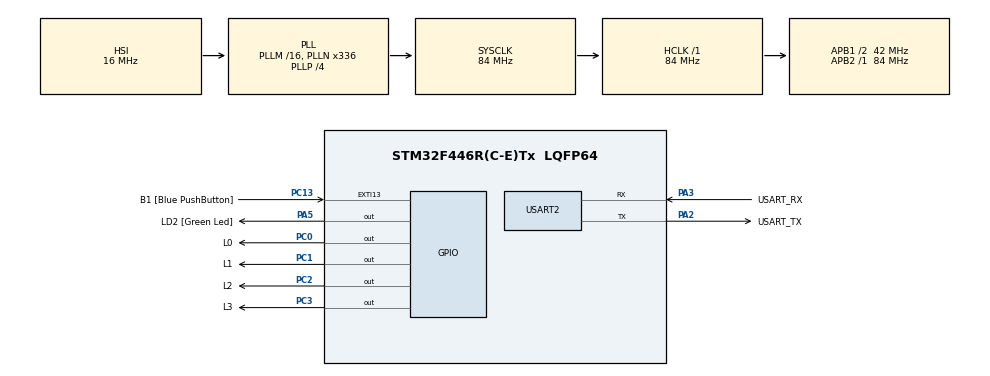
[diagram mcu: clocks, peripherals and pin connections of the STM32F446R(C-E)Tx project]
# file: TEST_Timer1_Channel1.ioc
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Mcu.Family=STM32F4
Mcu.Name=STM32F446R(C-E)Tx
Mcu.Package=LQFP64
NVIC.PriorityGroup=NVIC_PRIORITYGROUP_0
NVIC.TIM1_UP_TIM10_IRQn=true\:0\:0\:false\:false\:true\:true\:true\:true
PA13.GPIO_Label=TMS
PA13.Mode=Serial_Wire
PA13.Signal=SYS_JTMS-SWDIO
PA14.GPIO_Label=TCK
PA14.Mode=Serial_Wire
PA14.Signal=SYS_JTCK-SWCLK
PA2.GPIO_Label=USART_TX
PA2.Mode=Asynchronous
PA2.Signal=USART2_TX
PA3.GPIO_Label=USART_RX
PA3.Mode=Asynchronous
PA3.Signal=USART2_RX
PA5.GPIO_Label=LD2 [Green Led]
PA5.Signal=GPIO_Output
PB3.GPIO_Label=SWO
PB3.Signal=SYS_JTDO-SWO
PC0.GPIO_Label=L0
PC0.Signal=GPIO_Output
PC1.GPIO_Label=L1
PC1.Signal=GPIO_Output
PC13.GPIO_Label=B1 [Blue PushButton]
PC13.GPIO_ModeDefaultEXTI=GPIO_MODE_IT_FALLING
PC13.Signal=GPXTI13
PC14-OSC32_IN.Mode=LSE-External-Oscillator
PC14-OSC32_IN.Signal=RCC_OSC32_IN
PC15-OSC32_OUT.Mode=LSE-External-Oscillator
PC15-OSC32_OUT.Signal=RCC_OSC32_OUT
PC2.GPIO_Label=L2
PC2.Signal=GPIO_Output
PC3.GPIO_Label=L3
PC3.Signal=GPIO_Output
PH0-OSC_IN.Mode=HSE-External-Oscillator
PH0-OSC_IN.Signal=RCC_OSC_IN
PH1-OSC_OUT.Mode=HSE-External-Oscillator
PH1-OSC_OUT.Signal=RCC_OSC_OUT
ProjectManager.HeapSize=0x200
ProjectManager.StackSize=0x400
ProjectManager.TargetToolchain=STM32CubeIDE
RCC.48MHZClocksFreq_Value=84000000
RCC.AHBFreq_Value=84000000
RCC.APB1CLKDivider=RCC_HCLK_DIV2
RCC.APB1Freq_Value=42000000
RCC.APB1TimFreq_Value=84000000
RCC.APB2Freq_Value=84000000
RCC.APB2TimFreq_Value=84000000
RCC.CortexFreq_Value=84000000
RCC.FLatency-AdvancedSettings=FLASH_LATENCY_2
RCC.HCLKFreq_Value=84000000
RCC.HSE_VALUE=8000000
RCC.HSI_VALUE=16000000
RCC.PLLN=336
RCC.PLLP=RCC_PLLP_DIV4
RCC.SYSCLKFreq_VALUE=84000000
RCC.SYSCLKSource=RCC_SYSCLKSOURCE_PLLCLK
RCC.USBFreq_Value=168000000
RCC.VCOOutputFreq_Value=336000000
TIM1.AutoReloadPreload=TIM_AUTORELOAD_PRELOAD_DISABLE
TIM1.Period=1000
TIM1.Prescaler=84-1
USART2.VirtualMode=VM_ASYNC
VP_TIM1_VS_ClockSourceINT.Mode=Internal
board=NUCLEO-F446RE

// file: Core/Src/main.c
/* USER CODE BEGIN Header */
/**
  ******************************************************************************
  * @file           : main.c
  * @brief          : Main program body
  ******************************************************************************
  * @attention
  *
  * Copyright (c) 2023 STMicroelectronics.
  * All rights reserved.
  *
  * This software is licensed under terms that can be found in the LICENSE file
  * in the root directory of this software component.
  * If no LICENSE file comes with this software, it is provided AS-IS.
  *
  ******************************************************************************
  */
/* USER CODE END Header */
#include "main.h"

TIM_HandleTypeDef htim1;

UART_HandleTypeDef huart2;

/* USER CODE BEGIN PV */

extern uint16_t counter;
extern uint16_t counter1;
extern uint16_t counter2;
extern uint16_t counter3;
extern uint16_t counter4;

/* USER CODE END PV */

void SystemClock_Config(void);
static void MX_GPIO_Init(void);
static void MX_USART2_UART_Init(void);
static void MX_TIM1_Init(void);

int main(void)
{

  /* MCU Configuration--------------------------------------------------------*/

  /* Reset of all peripherals, Initializes the Flash interface and the Systick. */
  HAL_Init();

  /* Configure the system clock */
  SystemClock_Config();

  /* Initialize all configured peripherals */
  MX_GPIO_Init();
  MX_USART2_UART_Init();
  MX_TIM1_Init();
  /* USER CODE BEGIN 2 */
  HAL_TIM_Base_Start_IT(&htim1);
  /* USER CODE END 2 */

  /* Infinite loop */
  while (1)
  {

    /* USER CODE BEGIN 3 */
	  if(counter == 50){

		  HAL_GPIO_TogglePin(GPIOA, GPIO_PIN_5);

		  counter = 0;
	  }
	  if(counter1 == 100){

		  HAL_GPIO_TogglePin(GPIOC, GPIO_PIN_0);

		  counter1 = 0;
	  }

	  if(counter2 == 300){

		  HAL_GPIO_TogglePin(GPIOC, GPIO_PIN_1);

		  counter2 = 0;
	  }
	  if(counter3 == 500){

		  HAL_GPIO_TogglePin(GPIOC, GPIO_PIN_2);

		  counter3 = 0;
	  }
	  if(counter4 == 1000){

		  HAL_GPIO_TogglePin(GPIOC, GPIO_PIN_3);

		  counter4 = 0;
	  }
  }
  /* USER CODE END 3 */
}

void SystemClock_Config(void)
{
  RCC_OscInitTypeDef RCC_OscInitStruct = {0};
  RCC_ClkInitTypeDef RCC_ClkInitStruct = {0};

  /** Configure the main internal regulator output voltage
  */
  __HAL_RCC_PWR_CLK_ENABLE();
  __HAL_PWR_VOLTAGESCALING_CONFIG(PWR_REGULATOR_VOLTAGE_SCALE3);

  /** Initializes the RCC Oscillators according to the specified parameters
  * in the RCC_OscInitTypeDef structure.
  */
  RCC_OscInitStruct.OscillatorType = RCC_OSCILLATORTYPE_HSI;
  RCC_OscInitStruct.HSIState = RCC_HSI_ON;
  RCC_OscInitStruct.HSICalibrationValue = RCC_HSICALIBRATION_DEFAULT;
  RCC_OscInitStruct.PLL.PLLState = RCC_PLL_ON;
  RCC_OscInitStruct.PLL.PLLSource = RCC_PLLSOURCE_HSI;
  RCC_OscInitStruct.PLL.PLLM = 16;
  RCC_OscInitStruct.PLL.PLLN = 336;
  RCC_OscInitStruct.PLL.PLLP = RCC_PLLP_DIV4;
  RCC_OscInitStruct.PLL.PLLQ = 2;
  RCC_OscInitStruct.PLL.PLLR = 2;
  if (HAL_RCC_OscConfig(&RCC_OscInitStruct) != HAL_OK)
  {
    Error_Handler();
  }

  /** Initializes the CPU, AHB and APB buses clocks
  */
  RCC_ClkInitStruct.ClockType = RCC_CLOCKTYPE_HCLK|RCC_CLOCKTYPE_SYSCLK
                              |RCC_CLOCKTYPE_PCLK1|RCC_CLOCKTYPE_PCLK2;
  RCC_ClkInitStruct.SYSCLKSource = RCC_SYSCLKSOURCE_PLLCLK;
  RCC_ClkInitStruct.AHBCLKDivider = RCC_SYSCLK_DIV1;
  RCC_ClkInitStruct.APB1CLKDivider = RCC_HCLK_DIV2;
  RCC_ClkInitStruct.APB2CLKDivider = RCC_HCLK_DIV1;

  if (HAL_RCC_ClockConfig(&RCC_ClkInitStruct, FLASH_LATENCY_2) != HAL_OK)
  {
    Error_Handler();
  }
}

static void MX_TIM1_Init(void)
{

  TIM_ClockConfigTypeDef sClockSourceConfig = {0};
  TIM_MasterConfigTypeDef sMasterConfig = {0};

  htim1.Instance = TIM1;
  htim1.Init.Prescaler = 84-1;
  htim1.Init.CounterMode = TIM_COUNTERMODE_UP;
  htim1.Init.Period = 1000;
  htim1.Init.ClockDivision = TIM_CLOCKDIVISION_DIV1;
  htim1.Init.RepetitionCounter = 0;
  htim1.Init.AutoReloadPreload = TIM_AUTORELOAD_PRELOAD_DISABLE;
  if (HAL_TIM_Base_Init(&htim1) != HAL_OK)
  {
    Error_Handler();
  }
  sClockSourceConfig.ClockSource = TIM_CLOCKSOURCE_INTERNAL;
  if (HAL_TIM_ConfigClockSource(&htim1, &sClockSourceConfig) != HAL_OK)
  {
    Error_Handler();
  }
  sMasterConfig.MasterOutputTrigger = TIM_TRGO_RESET;
  sMasterConfig.MasterSlaveMode = TIM_MASTERSLAVEMODE_DISABLE;
  if (HAL_TIMEx_MasterConfigSynchronization(&htim1, &sMasterConfig) != HAL_OK)
  {
    Error_Handler();
  }

}

static void MX_USART2_UART_Init(void)
{

  huart2.Instance = USART2;
  huart2.Init.BaudRate = 115200;
  huart2.Init.WordLength = UART_WORDLENGTH_8B;
  huart2.Init.StopBits = UART_STOPBITS_1;
  huart2.Init.Parity = UART_PARITY_NONE;
  huart2.Init.Mode = UART_MODE_TX_RX;
  huart2.Init.HwFlowCtl = UART_HWCONTROL_NONE;
  huart2.Init.OverSampling = UART_OVERSAMPLING_16;
  if (HAL_UART_Init(&huart2) != HAL_OK)
  {
    Error_Handler();
  }

}

static void MX_GPIO_Init(void)
{
  GPIO_InitTypeDef GPIO_InitStruct = {0};

  /* GPIO Ports Clock Enable */
  __HAL_RCC_GPIOC_CLK_ENABLE();
  __HAL_RCC_GPIOH_CLK_ENABLE();
  __HAL_RCC_GPIOA_CLK_ENABLE();
  __HAL_RCC_GPIOB_CLK_ENABLE();

  /*Configure GPIO pin Output Level */
  HAL_GPIO_WritePin(GPIOC, L0_Pin|L1_Pin|L2_Pin|L3_Pin, GPIO_PIN_RESET);

  /*Configure GPIO pin Output Level */
  HAL_GPIO_WritePin(LD2_GPIO_Port, LD2_Pin, GPIO_PIN_RESET);

  /*Configure GPIO pin : B1_Pin */
  GPIO_InitStruct.Pin = B1_Pin;
  GPIO_InitStruct.Mode = GPIO_MODE_IT_FALLING;
  GPIO_InitStruct.Pull = GPIO_NOPULL;
  HAL_GPIO_Init(B1_GPIO_Port, &GPIO_InitStruct);

  /*Configure GPIO pins : L0_Pin L1_Pin L2_Pin L3_Pin */
  GPIO_InitStruct.Pin = L0_Pin|L1_Pin|L2_Pin|L3_Pin;
  GPIO_InitStruct.Mode = GPIO_MODE_OUTPUT_PP;
  GPIO_InitStruct.Pull = GPIO_NOPULL;
  GPIO_InitStruct.Speed = GPIO_SPEED_FREQ_LOW;
  HAL_GPIO_Init(GPIOC, &GPIO_InitStruct);

  /*Configure GPIO pin : LD2_Pin */
  GPIO_InitStruct.Pin = LD2_Pin;
  GPIO_InitStruct.Mode = GPIO_MODE_OUTPUT_PP;
  GPIO_InitStruct.Pull = GPIO_NOPULL;
  GPIO_InitStruct.Speed = GPIO_SPEED_FREQ_LOW;
  HAL_GPIO_Init(LD2_GPIO_Port, &GPIO_InitStruct);

}

void Error_Handler(void)
{
  __disable_irq();
  while (1)
  {
  }
}
